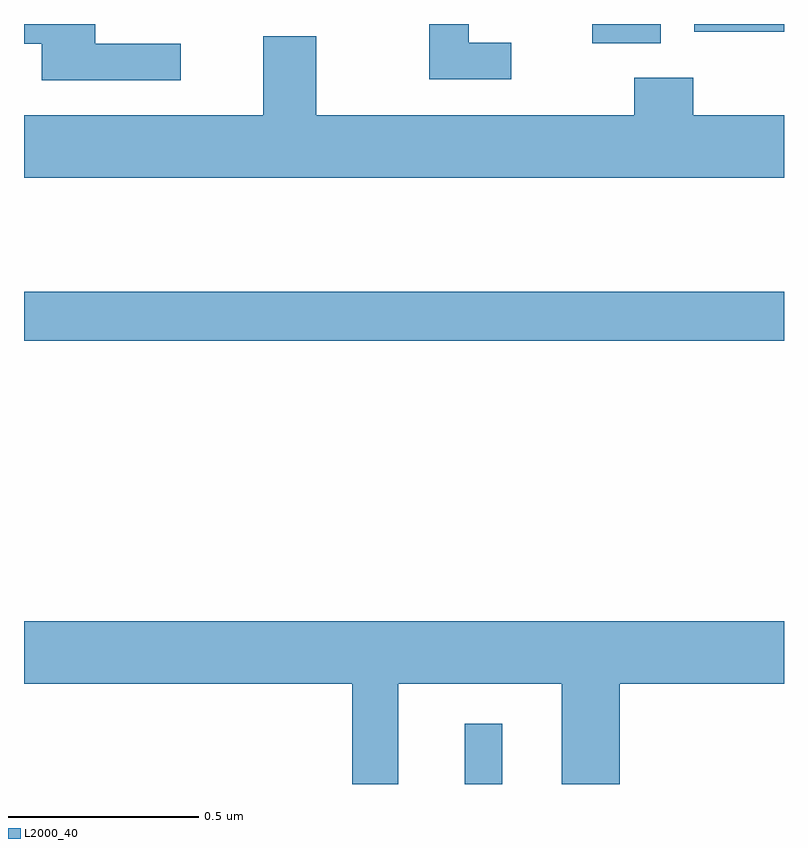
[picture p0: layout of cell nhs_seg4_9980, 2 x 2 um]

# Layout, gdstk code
import gdstk
lib = gdstk.Library(unit=1e-6, precision=1e-09)
def R(c, l, rs):  # rectangles x0, y0, x1, y1
    for r in rs: c.add(gdstk.rectangle(r[:2], r[2:], *l))
def P(c, l, *ps):  # polygons
    for p in ps: c.add(gdstk.Polygon(p, *l))
L2000_40 = (2000, 40)

nhs_seg4_9980 = lib.new_cell('nhs_seg4_9980')
R(nhs_seg4_9980, L2000_40, [(235.16,785.9,235.258,786.058), (234,787.066,236,787.195), (235.496,787.85,235.675,787.9), (235.764,787.879,236,787.9)])
P(nhs_seg4_9980, L2000_40, [(234.412,787.848),(234.187,787.848),(234.187,787.9),(234,787.9),(234,787.848),(234.047,787.848),(234.047,787.752),(234.412,787.752)],
  [(235.282,787.851),(235.171,787.851),(235.171,787.9),(235.067,787.9),(235.067,787.755),(235.282,787.755)],
  [(236,787.66),(235.761,787.66),(235.761,787.759),(235.606,787.759),(235.606,787.66),(234.769,787.66),(234.769,787.868),(234.629,787.868),(234.629,787.66),(234,787.66),(234,787.496),(236,787.496)],
  [(234.985,786.164),(235.415,786.164),(235.415,785.9),(235.568,785.9),(235.568,786.164),(236,786.164),(236,786.328),(234,786.328),(234,786.164),(234.864,786.164),(234.864,785.9),(234.985,785.9)])

lib.write_gds('nhs_seg4_9980.gds')
